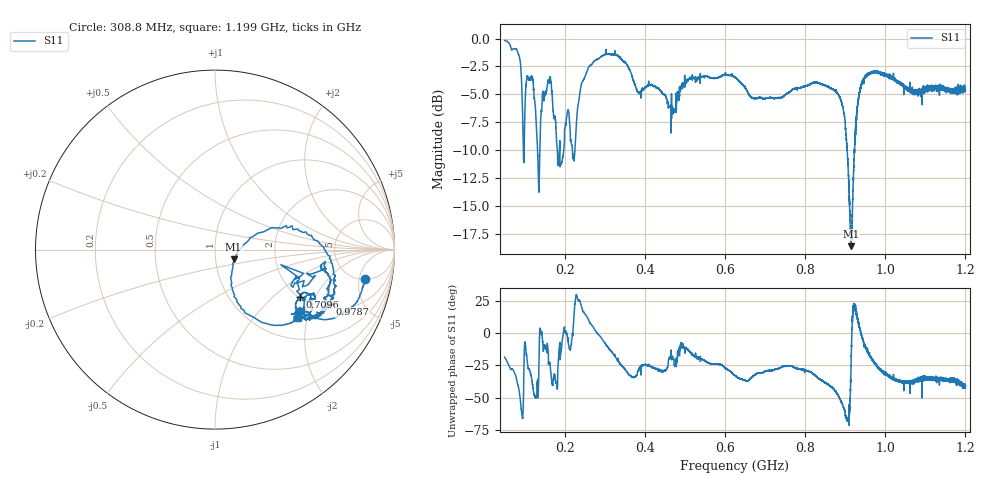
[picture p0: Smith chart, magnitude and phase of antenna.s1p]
! Calibrated high-resolution NanoVNA antenna measurement
# Hz S RI R 50
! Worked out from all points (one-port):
!   40001 points, 50 MHz to 1.2 GHz, reference 50 ohm
!   lowest |S11| = -18.6 dB at 914.5 MHz (marker M1), VSWR 1.27, Z = 61.1 - j6.82 ohm
!   |S11| at or under -10 dB: 188 MHz to 197.4 MHz (9.439 MHz wide, 4.9 % of centre); 219.2 MHz to 225.4 MHz (6.135 MHz wide, 2.76 % of centre); 905 MHz to 923 MHz (17.96 MHz wide, 1.97 % of centre)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
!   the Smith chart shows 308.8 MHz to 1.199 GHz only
!   S11 on the Smith chart (normalised r, x): 308.8 MHz: 5.05, -5.99; 709.6 MHz: 2.04, -1.53; 978.7 MHz: 2.25, -2.74; 1.199 GHz: 1.34, -1.75
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5e7  0.9296 -0.3126
8.6685e7  0.58 -0.594
9.464875e7  0.1945 -0.4355
1.011462e8  0.5023 -0.0694
1.082188e8  0.6063 -0.2943
1.2314e8  0.3952 -0.4202
1.346975e8  0.1743 -0.1451
1.591925e8  0.6301 -0.1741
1.705488e8  0.3762 -0.3139
1.9375e8  0.283 -0.0287
2.067738e8  0.4686 -0.0263
2.227875e8  0.277 0.0612
2.377662e8  0.5144 0.2419
3.088362e8  0.8332 -0.1653
3.375e8  0.7557 -0.3278
3.7959e8  0.4955 -0.3223
4.8125e8  0.5282 -0.1924
6.25e8  0.5622 -0.3645
7.095538e8  0.4752 -0.2638
7.6875e8  0.5334 -0.2572
8.85015e8  0.3558 -0.4228
9.125e8  0.0962 -0.1111
9.144838e8  0.1034 -0.055
9.35615e8  0.5714 0.0474
9.786825e8  0.6406 -0.303
1.05625e9  0.4677 -0.378
1.198965e9  0.4518 -0.4107
1.2e9  0.4442 -0.4129
